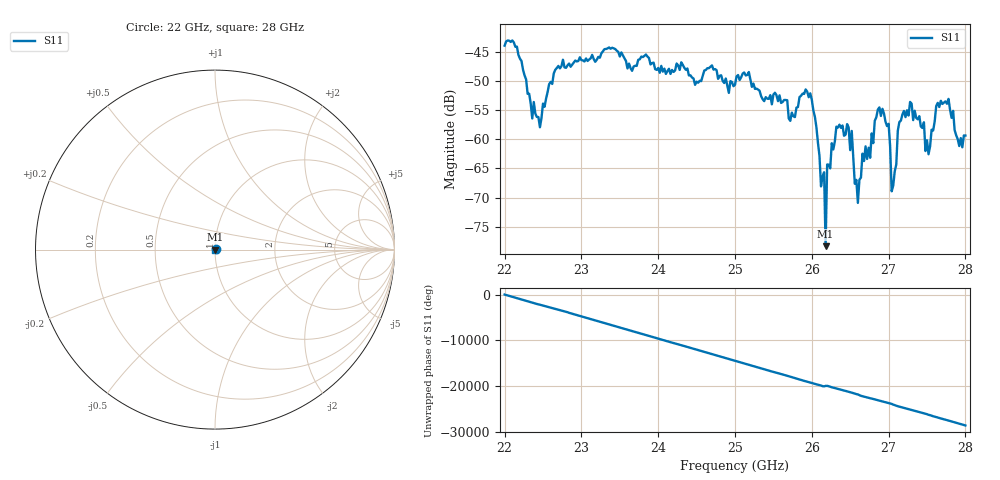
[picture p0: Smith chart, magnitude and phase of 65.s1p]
#  HZ  S  RI  R  50.00
! Rohde & Schwarz ZVA40 4Ports - Version 3.90 - 1145.1110k42 SN: 100403
! Date: 2023-10-04 10:51:04
! Measurement: S12
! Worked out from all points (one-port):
!   301 points, 22 GHz to 28 GHz, reference 50 ohm
!   lowest |S11| = -78.3 dB at 26.18 GHz (marker M1), VSWR 1.00, Z = 50 - j0.00812 ohm
!   |S11| at or under -10 dB: start of sweep to end of sweep
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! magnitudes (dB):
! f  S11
! 22 GHz  -43.9
! 22.16 GHz  -44.1
! 22.46 GHz  -57.9
! 22.76 GHz  -46.3
! 23.5 GHz  -45.8
! 24.26 GHz  -47.3
! 25 GHz  -50.6
! 25.76 GHz  -56.0
! 25.98 GHz  -52.1
! 26.12 GHz  -68.1
! 26.16 GHz  -65.7
! 26.18 GHz  -78.3
! 26.2 GHz  -64.3
! 26.26 GHz  -60.7
! 26.46 GHz  -57.4
! 26.5 GHz  -61.8
! 26.52 GHz  -58.6
! 26.6 GHz  -70.9
! 26.66 GHz  -62.5
! 26.92 GHz  -54.8
! 27 GHz  -57.3
! 27.04 GHz  -68.9
! 27.14 GHz  -57.0
! 27.26 GHz  -55.9
! 27.46 GHz  -57.1
! 27.52 GHz  -62.6
! 27.68 GHz  -53.4
! 28 GHz  -59.4
